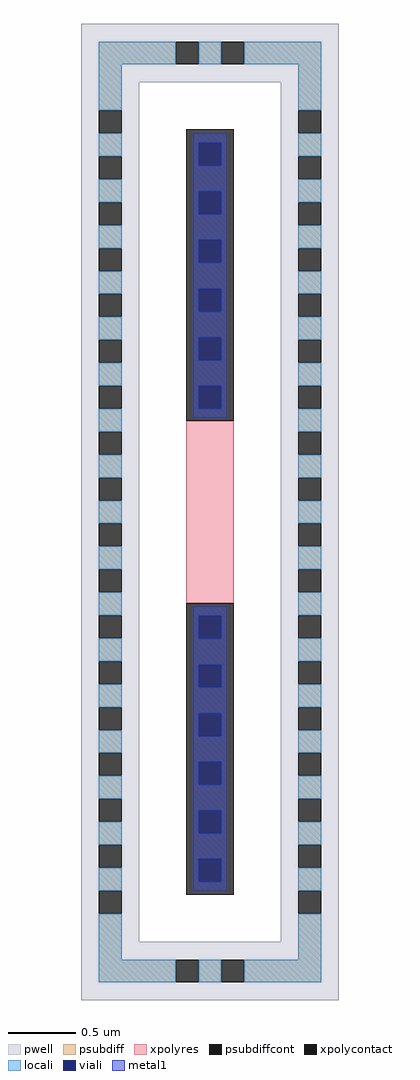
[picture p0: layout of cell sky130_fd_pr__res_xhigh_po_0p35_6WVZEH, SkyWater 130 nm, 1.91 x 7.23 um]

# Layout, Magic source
magic
tech sky130A
magscale 1 2
<< pwell >>
rect -191 637 191 723
rect -191 -637 -105 637
rect 105 -637 191 637
rect -191 -723 191 -637
<< psubdiff >>
rect -165 663 -51 697
rect -17 663 17 697
rect 51 663 165 697
rect -165 595 -131 663
rect 131 595 165 663
rect -165 527 -131 561
rect -165 459 -131 493
rect -165 391 -131 425
rect -165 323 -131 357
rect -165 255 -131 289
rect -165 187 -131 221
rect -165 119 -131 153
rect -165 51 -131 85
rect -165 -17 -131 17
rect -165 -85 -131 -51
rect -165 -153 -131 -119
rect -165 -221 -131 -187
rect -165 -289 -131 -255
rect -165 -357 -131 -323
rect -165 -425 -131 -391
rect -165 -493 -131 -459
rect -165 -561 -131 -527
rect 131 527 165 561
rect 131 459 165 493
rect 131 391 165 425
rect 131 323 165 357
rect 131 255 165 289
rect 131 187 165 221
rect 131 119 165 153
rect 131 51 165 85
rect 131 -17 165 17
rect 131 -85 165 -51
rect 131 -153 165 -119
rect 131 -221 165 -187
rect 131 -289 165 -255
rect 131 -357 165 -323
rect 131 -425 165 -391
rect 131 -493 165 -459
rect 131 -561 165 -527
rect -165 -663 -131 -595
rect 131 -663 165 -595
rect -165 -697 -51 -663
rect -17 -697 17 -663
rect 51 -697 165 -663
<< psubdiffcont >>
rect -51 663 -17 697
rect 17 663 51 697
rect -165 561 -131 595
rect -165 493 -131 527
rect -165 425 -131 459
rect -165 357 -131 391
rect -165 289 -131 323
rect -165 221 -131 255
rect -165 153 -131 187
rect -165 85 -131 119
rect -165 17 -131 51
rect -165 -51 -131 -17
rect -165 -119 -131 -85
rect -165 -187 -131 -153
rect -165 -255 -131 -221
rect -165 -323 -131 -289
rect -165 -391 -131 -357
rect -165 -459 -131 -425
rect -165 -527 -131 -493
rect -165 -595 -131 -561
rect 131 561 165 595
rect 131 493 165 527
rect 131 425 165 459
rect 131 357 165 391
rect 131 289 165 323
rect 131 221 165 255
rect 131 153 165 187
rect 131 85 165 119
rect 131 17 165 51
rect 131 -51 165 -17
rect 131 -119 165 -85
rect 131 -187 165 -153
rect 131 -255 165 -221
rect 131 -323 165 -289
rect 131 -391 165 -357
rect 131 -459 165 -425
rect 131 -527 165 -493
rect 131 -595 165 -561
rect -51 -697 -17 -663
rect 17 -697 51 -663
<< xpolycontact >>
rect -35 135 35 567
rect -35 -567 35 -135
<< xpolyres >>
rect -35 -135 35 135
<< locali >>
rect -165 663 -51 697
rect -17 663 17 697
rect 51 663 165 697
rect -165 595 -131 663
rect 131 595 165 663
rect -165 527 -131 561
rect -165 459 -131 493
rect -165 391 -131 425
rect -165 323 -131 357
rect -165 255 -131 289
rect -165 187 -131 221
rect -165 119 -131 153
rect 131 527 165 561
rect 131 459 165 493
rect 131 391 165 425
rect 131 323 165 357
rect 131 255 165 289
rect 131 187 165 221
rect -165 51 -131 85
rect -165 -17 -131 17
rect -165 -85 -131 -51
rect -165 -153 -131 -119
rect 131 119 165 153
rect 131 51 165 85
rect 131 -17 165 17
rect 131 -85 165 -51
rect -165 -221 -131 -187
rect -165 -289 -131 -255
rect -165 -357 -131 -323
rect -165 -425 -131 -391
rect -165 -493 -131 -459
rect -165 -561 -131 -527
rect 131 -153 165 -119
rect 131 -221 165 -187
rect 131 -289 165 -255
rect 131 -357 165 -323
rect 131 -425 165 -391
rect 131 -493 165 -459
rect 131 -561 165 -527
rect -165 -663 -131 -595
rect 131 -663 165 -595
rect -165 -697 -51 -663
rect -17 -697 17 -663
rect 51 -697 165 -663
<< viali >>
rect -17 513 17 547
rect -17 441 17 475
rect -17 369 17 403
rect -17 297 17 331
rect -17 225 17 259
rect -17 153 17 187
rect -17 -188 17 -154
rect -17 -260 17 -226
rect -17 -332 17 -298
rect -17 -404 17 -370
rect -17 -476 17 -442
rect -17 -548 17 -514
<< metal1 >>
rect -25 547 25 561
rect -25 513 -17 547
rect 17 513 25 547
rect -25 475 25 513
rect -25 441 -17 475
rect 17 441 25 475
rect -25 403 25 441
rect -25 369 -17 403
rect 17 369 25 403
rect -25 331 25 369
rect -25 297 -17 331
rect 17 297 25 331
rect -25 259 25 297
rect -25 225 -17 259
rect 17 225 25 259
rect -25 187 25 225
rect -25 153 -17 187
rect 17 153 25 187
rect -25 140 25 153
rect -25 -154 25 -140
rect -25 -188 -17 -154
rect 17 -188 25 -154
rect -25 -226 25 -188
rect -25 -260 -17 -226
rect 17 -260 25 -226
rect -25 -298 25 -260
rect -25 -332 -17 -298
rect 17 -332 25 -298
rect -25 -370 25 -332
rect -25 -404 -17 -370
rect 17 -404 25 -370
rect -25 -442 25 -404
rect -25 -476 -17 -442
rect 17 -476 25 -442
rect -25 -514 25 -476
rect -25 -548 -17 -514
rect 17 -548 25 -514
rect -25 -561 25 -548
<< properties >>
string FIXED_BBOX -148 -680 148 680
<< end >>
